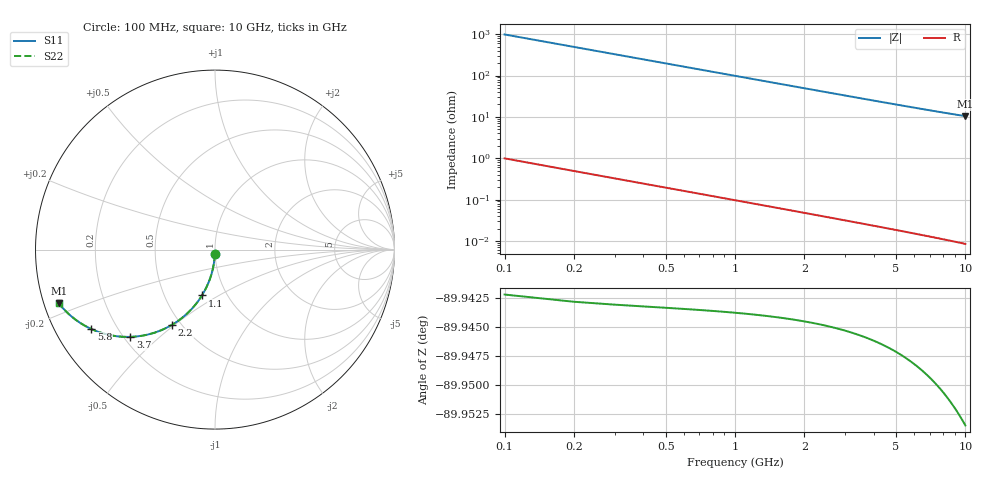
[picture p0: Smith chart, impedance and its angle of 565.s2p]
# Hz S RI R 50.00
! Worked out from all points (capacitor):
!   100 points, 100 MHz to 10 GHz, reference 50 ohm
!   read as one part in shunt: C = 1.61 pF near 100 MHz
!   lowest |Z| = 10.4 ohm at 10 GHz (marker M1)
!   S11 on the Smith chart (normalised r, x): 100 MHz: 1.00, -0.05; 1.1 GHz: 0.76, -0.42; 2.2 GHz: 0.45, -0.49; 3.7 GHz: 0.23, -0.41; 5.8 GHz: 0.11, -0.29; 10 GHz: 0.04, -0.17
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1e8  -0.000609 -0.025  0.9993 -0.0257  0.9993 -0.0257  -0.000609 -0.025
2e8  -0.00256 -0.0499  0.9973 -0.0513  0.9973 -0.0513  -0.00256 -0.0499
3e8  -0.00577 -0.0747  0.9941 -0.0766  0.9941 -0.0766  -0.00577 -0.0747
4e8  -0.0102 -0.0991  0.9897 -0.1017  0.9897 -0.1017  -0.0102 -0.0991
5e8  -0.0159 -0.1231  0.984 -0.1264  0.984 -0.1264  -0.0159 -0.1231
6e8  -0.0227 -0.1467  0.9771 -0.1507  0.9771 -0.1507  -0.0227 -0.1467
7e8  -0.0307 -0.1698  0.9692 -0.1744  0.9692 -0.1744  -0.0307 -0.1698
9e8  -0.0497 -0.214  0.9502 -0.2199  0.9502 -0.2199  -0.0497 -0.214
1.1e9  -0.0725 -0.2552  0.9274 -0.2625  0.9274 -0.2625  -0.0725 -0.2552
1.4e9  -0.1123 -0.3107  0.8875 -0.32  0.8875 -0.32  -0.1123 -0.3107
1.8e9  -0.1731 -0.3719  0.8267 -0.3839  0.8267 -0.3839  -0.1731 -0.3719
2.2e9  -0.2384 -0.4183  0.7614 -0.433  0.7614 -0.433  -0.2384 -0.4183
2.8e9  -0.3368 -0.4628  0.6629 -0.4815  0.6629 -0.4815  -0.3368 -0.4628
3.4e9  -0.4287 -0.483  0.5709 -0.5058  0.5709 -0.5058  -0.4287 -0.483
3.7e9  -0.4708 -0.4862  0.5287 -0.5111  0.5287 -0.5111  -0.4708 -0.4862
4.4e9  -0.5579 -0.4812  0.4415 -0.511  0.4415 -0.511  -0.5579 -0.4812
5.1e9  -0.6299 -0.4649  0.3694 -0.4996  0.3694 -0.4996  -0.6299 -0.4649
5.8e9  -0.6884 -0.4426  0.3107 -0.4823  0.3107 -0.4823  -0.6884 -0.4426
6.7e9  -0.7478 -0.4103  0.251 -0.4565  0.251 -0.4565  -0.7478 -0.4103
7.5e9  -0.7888 -0.3811  0.2097 -0.4332  0.2097 -0.4332  -0.7888 -0.3811
8.4e9  -0.8249 -0.3493  0.1732 -0.4081  0.1732 -0.4081  -0.8249 -0.3493
1e10  -0.871 -0.2975  0.1263 -0.3687  0.1263 -0.3687  -0.871 -0.2975
